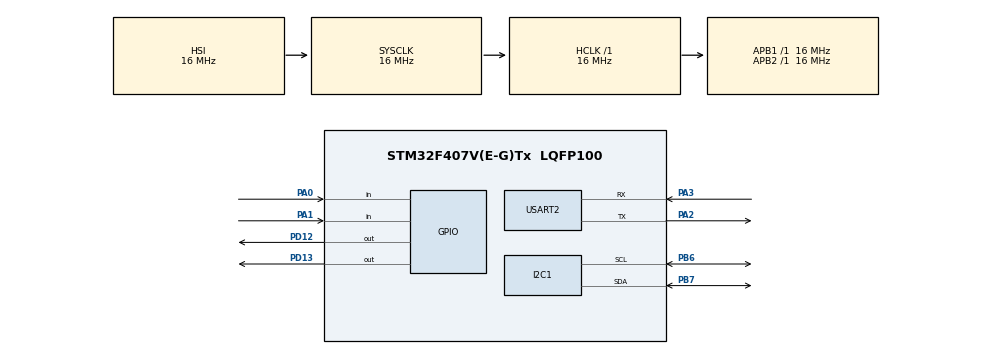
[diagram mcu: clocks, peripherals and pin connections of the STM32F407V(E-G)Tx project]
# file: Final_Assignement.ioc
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FREERTOS.Tasks01=ledblink,24,128,BlinkLed,Default,NULL,Dynamic,NULL,NULL;lcd_gloq,8,128,lcd_send,Default,NULL,Dynamic,NULL,NULL
FREERTOS.Timers01=butttonstatus,checkbutton,osTimerPeriodic,Default,NULL,Dynamic,NULL
Mcu.Family=STM32F4
Mcu.Name=STM32F407V(E-G)Tx
Mcu.Package=LQFP100
NVIC.I2C1_EV_IRQn=true\:5\:0\:false\:false\:true\:true\:true\:true\:true
NVIC.PriorityGroup=NVIC_PRIORITYGROUP_4
NVIC.TIM1_UP_TIM10_IRQn=true\:15\:0\:false\:false\:true\:false\:false\:true\:true
NVIC.TimeBase=TIM1_UP_TIM10_IRQn
NVIC.TimeBaseIP=TIM1
NVIC.USART2_IRQn=true\:5\:0\:false\:false\:true\:true\:true\:true\:true
PA0-WKUP.Signal=GPIO_Input
PA1.Signal=GPIO_Input
PA13.Mode=Serial_Wire
PA13.Signal=SYS_JTMS-SWDIO
PA14.Mode=Serial_Wire
PA14.Signal=SYS_JTCK-SWCLK
PA2.Mode=Asynchronous
PA2.Signal=USART2_TX
PA3.Mode=Asynchronous
PA3.Signal=USART2_RX
PB6.Mode=I2C
PB6.Signal=I2C1_SCL
PB7.Mode=I2C
PB7.Signal=I2C1_SDA
PD12.Signal=GPIO_Output
PD13.Signal=GPIO_Output
PH0-OSC_IN.Mode=HSE-External-Oscillator
PH0-OSC_IN.Signal=RCC_OSC_IN
PH1-OSC_OUT.Mode=HSE-External-Oscillator
PH1-OSC_OUT.Signal=RCC_OSC_OUT
ProjectManager.HeapSize=0x200
ProjectManager.StackSize=0x400
ProjectManager.TargetToolchain=STM32CubeIDE
RCC.AHBFreq_Value=16000000
RCC.APB1Freq_Value=16000000
RCC.APB2Freq_Value=16000000
RCC.CortexFreq_Value=16000000
RCC.HSE_VALUE=25000000
RCC.HSI_VALUE=16000000
RCC.LSE_VALUE=32768
RCC.SYSCLKFreq_VALUE=16000000
RCC.VCOOutputFreq_Value=192000000
USART2.VirtualMode=VM_ASYNC
VP_FREERTOS_VS_CMSIS_V2.Mode=CMSIS_V2
VP_SYS_VS_tim1.Mode=TIM1
board=custom

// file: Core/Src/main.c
/* USER CODE BEGIN Header */
/**
  ******************************************************************************
  * @file           : main.c
  * @brief          : Main program body
  ******************************************************************************
  * @attention
  *
  * Copyright (c) 2024 STMicroelectronics.
  * All rights reserved.
  *
  * This software is licensed under terms that can be found in the LICENSE file
  * in the root directory of this software component.
  * If no LICENSE file comes with this software, it is provided AS-IS.
  *
  ******************************************************************************
  */
/* USER CODE END Header */
#include "main.h"
#include "cmsis_os.h"

/* USER CODE BEGIN Includes */
#include <semphr.h>
#include <queue.h>
#include <stdbool.h>
#include <led.h>
/* USER CODE END Includes */

I2C_HandleTypeDef hi2c1;

UART_HandleTypeDef huart2;

/* Definitions for ledblink */
osThreadId_t ledblinkHandle;
const osThreadAttr_t ledblink_attributes = {
  .name = "ledblink",
  .stack_size = 128 * 4,
  .priority = (osPriority_t) osPriorityNormal,
};
/* Definitions for lcd_gloq */
osThreadId_t lcd_gloqHandle;
const osThreadAttr_t lcd_gloq_attributes = {
  .name = "lcd_gloq",
  .stack_size = 128 * 4,
  .priority = (osPriority_t) osPriorityLow,
};
/* Definitions for butttonstatus */
osTimerId_t butttonstatusHandle;
const osTimerAttr_t butttonstatus_attributes = {
  .name = "butttonstatus"
};
/* USER CODE BEGIN PV */

typedef struct {

	volatile bool  Sw1_State;
	volatile bool  Sw2_State;

}Sw_state;

typedef struct {

	volatile bool  Led1_State;
	volatile bool  Led2_State;

}Led_state;

SemaphoreHandle_t Mutex; //  avoids race conditions
QueueHandle_t xButtonQueue; // to send data from one task to other task properly
QueueHandle_t xLedState;

/* USER CODE END PV */

void SystemClock_Config(void);
static void MX_GPIO_Init(void);
static void MX_I2C1_Init(void);
static void MX_USART2_UART_Init(void);
void BlinkLed(void *argument);
void lcd_send(void *argument);
void checkbutton(void *argument);

int main(void)
{

  /* MCU Configuration--------------------------------------------------------*/

  /* Reset of all peripherals, Initializes the Flash interface and the Systick. */
  HAL_Init();

  /* Configure the system clock */
  SystemClock_Config();

  /* Initialize all configured peripherals */
  MX_GPIO_Init();
  MX_I2C1_Init();
  MX_USART2_UART_Init();
  /* USER CODE BEGIN 2 */
  lcd_init();
  lcd_clear();
  /* USER CODE END 2 */

  /* Init scheduler */
  osKernelInitialize();

  /* USER CODE BEGIN RTOS_MUTEX */
  /* add mutexes, ... */
  Mutex = xSemaphoreCreateMutex();
  /* USER CODE END RTOS_MUTEX */

  /* Create the timer(s) */
  /* creation of butttonstatus */
  butttonstatusHandle = osTimerNew(checkbutton, osTimerPeriodic, NULL, &butttonstatus_attributes);

  /* USER CODE BEGIN RTOS_QUEUES */
  /* add queues, ... */
  xButtonQueue = xQueueCreate(5, sizeof(Sw_state));
  xLedState    = xQueueCreate(1, sizeof(Led_state));

  /* USER CODE END RTOS_QUEUES */

  /* Create the thread(s) */
  /* creation of ledblink */
  ledblinkHandle = osThreadNew(BlinkLed, NULL, &ledblink_attributes);

  /* creation of lcd_gloq */
  lcd_gloqHandle = osThreadNew(lcd_send, NULL, &lcd_gloq_attributes);

  /* Start scheduler */
  osKernelStart();

  /* We should never get here as control is now taken by the scheduler */
  /* Infinite loop */
  while (1)
  {

  }
}

void SystemClock_Config(void)
{
  RCC_OscInitTypeDef RCC_OscInitStruct = {0};
  RCC_ClkInitTypeDef RCC_ClkInitStruct = {0};

  /** Configure the main internal regulator output voltage
  */
  __HAL_RCC_PWR_CLK_ENABLE();
  __HAL_PWR_VOLTAGESCALING_CONFIG(PWR_REGULATOR_VOLTAGE_SCALE1);

  /** Initializes the RCC Oscillators according to the specified parameters
  * in the RCC_OscInitTypeDef structure.
  */
  RCC_OscInitStruct.OscillatorType = RCC_OSCILLATORTYPE_HSI;
  RCC_OscInitStruct.HSIState = RCC_HSI_ON;
  RCC_OscInitStruct.HSICalibrationValue = RCC_HSICALIBRATION_DEFAULT;
  RCC_OscInitStruct.PLL.PLLState = RCC_PLL_NONE;
  if (HAL_RCC_OscConfig(&RCC_OscInitStruct) != HAL_OK)
  {
    Error_Handler();
  }

  /** Initializes the CPU, AHB and APB buses clocks
  */
  RCC_ClkInitStruct.ClockType = RCC_CLOCKTYPE_HCLK|RCC_CLOCKTYPE_SYSCLK
                              |RCC_CLOCKTYPE_PCLK1|RCC_CLOCKTYPE_PCLK2;
  RCC_ClkInitStruct.SYSCLKSource = RCC_SYSCLKSOURCE_HSI;
  RCC_ClkInitStruct.AHBCLKDivider = RCC_SYSCLK_DIV1;
  RCC_ClkInitStruct.APB1CLKDivider = RCC_HCLK_DIV1;
  RCC_ClkInitStruct.APB2CLKDivider = RCC_HCLK_DIV1;

  if (HAL_RCC_ClockConfig(&RCC_ClkInitStruct, FLASH_LATENCY_0) != HAL_OK)
  {
    Error_Handler();
  }
}

static void MX_I2C1_Init(void)
{

  hi2c1.Instance = I2C1;
  hi2c1.Init.ClockSpeed = 100000;
  hi2c1.Init.DutyCycle = I2C_DUTYCYCLE_2;
  hi2c1.Init.OwnAddress1 = 0;
  hi2c1.Init.AddressingMode = I2C_ADDRESSINGMODE_7BIT;
  hi2c1.Init.DualAddressMode = I2C_DUALADDRESS_DISABLE;
  hi2c1.Init.OwnAddress2 = 0;
  hi2c1.Init.GeneralCallMode = I2C_GENERALCALL_DISABLE;
  hi2c1.Init.NoStretchMode = I2C_NOSTRETCH_DISABLE;
  if (HAL_I2C_Init(&hi2c1) != HAL_OK)
  {
    Error_Handler();
  }

}

static void MX_USART2_UART_Init(void)
{

  huart2.Instance = USART2;
  huart2.Init.BaudRate = 115200;
  huart2.Init.WordLength = UART_WORDLENGTH_8B;
  huart2.Init.StopBits = UART_STOPBITS_1;
  huart2.Init.Parity = UART_PARITY_NONE;
  huart2.Init.Mode = UART_MODE_TX_RX;
  huart2.Init.HwFlowCtl = UART_HWCONTROL_NONE;
  huart2.Init.OverSampling = UART_OVERSAMPLING_16;
  if (HAL_UART_Init(&huart2) != HAL_OK)
  {
    Error_Handler();
  }

}

static void MX_GPIO_Init(void)
{
  GPIO_InitTypeDef GPIO_InitStruct = {0};

  /* GPIO Ports Clock Enable */
  __HAL_RCC_GPIOH_CLK_ENABLE();
  __HAL_RCC_GPIOA_CLK_ENABLE();
  __HAL_RCC_GPIOD_CLK_ENABLE();
  __HAL_RCC_GPIOB_CLK_ENABLE();

  /*Configure GPIO pin Output Level */
  HAL_GPIO_WritePin(GPIOD, GPIO_PIN_12|GPIO_PIN_13, GPIO_PIN_RESET);

  /*Configure GPIO pins : PA0 PA1 */
  GPIO_InitStruct.Pin = GPIO_PIN_0|GPIO_PIN_1;
  GPIO_InitStruct.Mode = GPIO_MODE_INPUT;
  GPIO_InitStruct.Pull = GPIO_NOPULL;
  HAL_GPIO_Init(GPIOA, &GPIO_InitStruct);

  /*Configure GPIO pins : PD12 PD13 */
  GPIO_InitStruct.Pin = GPIO_PIN_12|GPIO_PIN_13;
  GPIO_InitStruct.Mode = GPIO_MODE_OUTPUT_PP;
  GPIO_InitStruct.Pull = GPIO_NOPULL;
  GPIO_InitStruct.Speed = GPIO_SPEED_FREQ_LOW;
  HAL_GPIO_Init(GPIOD, &GPIO_InitStruct);

}

void BlinkLed(void *argument)
{
  /* USER CODE BEGIN 5 */
	osTimerStart(butttonstatusHandle, 100);
	Sw_state switchstate;
	Led_state ledstate;

  /* Infinite loop */
  for(;;)
  {
      if (xQueueReceive(xButtonQueue, &switchstate, portMAX_DELAY) == pdPASS)
      {
          xSemaphoreTake(Mutex, portMAX_DELAY);

          	  if(switchstate.Sw1_State == 1 && switchstate.Sw2_State==0 ){
          		  HAL_GPIO_WritePin(GPIOD, GPIO_PIN_12, 1);
          		  ledstate.Led1_State = 1;
          		  HAL_GPIO_WritePin(GPIOD, GPIO_PIN_13, 0);
          		ledstate.Led2_State = 0;

          	  }
          	  if(switchstate.Sw2_State ==1  && switchstate.Sw1_State==0){
          		  HAL_GPIO_WritePin(GPIOD, GPIO_PIN_12, 0);
          		ledstate.Led1_State = 0;
          		  HAL_GPIO_WritePin(GPIOD, GPIO_PIN_13, 1);
          		ledstate.Led2_State = 1;

          	  }
          	  if(switchstate.Sw2_State && switchstate.Sw1_State)
          	  {
          		ledstate.Led1_State = ledstate.Led1_State;
          		ledstate.Led2_State = ledstate.Led2_State;
          	  }
          	  if(switchstate.Sw2_State==0  && switchstate.Sw1_State==0){

          		  HAL_GPIO_TogglePin(GPIOD, GPIO_PIN_12);
          		  ledstate.Led1_State = !ledstate.Led1_State;
          		  osDelay(30);
          		  HAL_GPIO_TogglePin(GPIOD, GPIO_PIN_13);
          		 ledstate.Led2_State = !ledstate.Led2_State;
          		  osDelay(30);

          	  }

          xSemaphoreGive(Mutex);
      }

    	  xQueueSend(xLedState, &ledstate, 1);

  }

  /* USER CODE END 5 */
}

void lcd_send(void *argument)
{
  /* USER CODE BEGIN lcd_send */
	Sw_state switchstate;
	Led_state ledstate;
  /* Infinite loop */
  for(;;)

  {

	if (xQueueReceive(xButtonQueue, &switchstate, portMAX_DELAY) == pdPASS){

		//transmit data to lcd
		xSemaphoreTake(Mutex, portMAX_DELAY);
		// transmit
	    lcd_put_cur(0, 10);
	    if (switchstate.Sw1_State) {
	        lcd_send_string("SW1: ON");
	    } else {
	        lcd_send_string("SW1: OFF");
	    }

	    // Display button switch2 state
	    lcd_put_cur(1, 10); // Set cursor to second row, column 10
	    if (switchstate.Sw2_State) {
	        lcd_send_string("SW2: ON");
	    } else {
	        lcd_send_string("SW2: OFF");
	    }

        xSemaphoreGive(Mutex);

	}

	if (xQueueReceive(xLedState, &ledstate, portMAX_DELAY) == pdPASS){

		//transmit data to lcd
		xSemaphoreTake(Mutex, portMAX_DELAY);
		// transmit
	    lcd_put_cur(0, 0);
	    if (ledstate.Led1_State) {
	        lcd_send_string("LED1: ON");
	    } else {
	        lcd_send_string("LED1: OFF");
	    }
	    lcd_put_cur(1, 0); // Set cursor to the second row, first column
	    if (ledstate.Led2_State) {
	        lcd_send_string("LED2: ON");
	    } else {
	        lcd_send_string("LED2: OFF");
	    }

        xSemaphoreGive(Mutex);

	}
  }
  /* USER CODE END lcd_send */
}

/* checkbutton function */
void checkbutton(void *argument)
{
  /* USER CODE BEGIN checkbutton */
	Sw_state switchstate;

	xSemaphoreTake(Mutex,portMAX_DELAY);

		switchstate.Sw1_State = HAL_GPIO_ReadPin(GPIOA, GPIO_PIN_0);
		switchstate.Sw2_State = HAL_GPIO_ReadPin(GPIOA, GPIO_PIN_1);

		xQueueSend(xButtonQueue, &switchstate, portMAX_DELAY);

	xSemaphoreGive(Mutex);

  /* USER CODE END checkbutton */
}

void HAL_TIM_PeriodElapsedCallback(TIM_HandleTypeDef *htim)
{
  if (htim->Instance == TIM1) {
    HAL_IncTick();
  }
}

void Error_Handler(void)
{
  __disable_irq();
  while (1)
  {
  }
}
